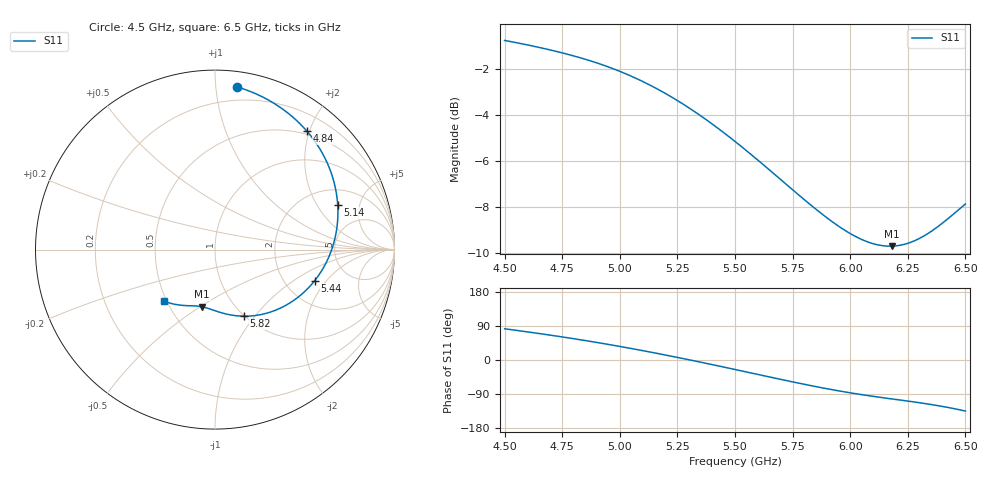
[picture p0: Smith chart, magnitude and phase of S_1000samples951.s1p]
! TOUCHSTONE file generated by CST MICROWAVE STUDIO
! Date and time: Sat Oct 29 21:51:21 2022
! Project name: L.cst
! Parameters = {Di=1.27; Epsilon_r=1.56; InnerDiameter=1.27; Length=2; Lf=10; Lg=60; OuterConductorThickness=0.2921; OuterDiameter=3.6; Wf=3; Wp=41.2; de=1.5; df=6.8; g=0.8; gx=1.4318; gy=3.06589; h=2.34; hf=1.524; px=10.5138; py=11.0138; w=9.7; wx=9.08197; wy=7.94793}
! Header version: 2018
! Port assignment regex: !\s*Touchstone port\s*([0-9]+)\s*=\s*(CST MWS port|CST DS port)\s*([0-9]+|Zmin|Zmax)\s*\(\"(.*)\"\)(\s*mode\s*([0-9]+))?.*
! Touchstone port assignment:
! Touchstone port 1 = CST MWS port 1 ("")
# GHz S DB R 50
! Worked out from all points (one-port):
!   101 points, 4.5 GHz to 6.5 GHz, reference 50 ohm
!   lowest |S11| = -9.7 dB at 6.18 GHz (marker M1), VSWR 1.97, Z = 35.7 - j25.5 ohm
!   |S11| at or under -10 dB: nowhere
!   S11 on the Smith chart (normalised r, x): 4.5 GHz: 0.10, +1.14; 4.84 GHz: 0.45, +1.96; 5.14 GHz: 2.90, +3.07; 5.44 GHz: 2.92, -1.52; 5.82 GHz: 0.99, -0.88; 6.5 GHz: 0.48, -0.33
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4.5  -0.77 82.4
4.56  -0.89 77.5
4.64  -1.06 70.7
4.7  -1.19 65.4
4.76  -1.34 59.9
4.84  -1.56 52.3
4.92  -1.82 44.2
5  -2.12 35.8
5.08  -2.47 26.9
5.14  -2.76 20.0
5.2  -3.09 12.9
5.26  -3.45 5.6
5.34  -3.97 -4.4
5.44  -4.70 -17.2
5.5  -5.16 -25.0
5.56  -5.65 -32.9
5.62  -6.15 -40.8
5.68  -6.67 -48.7
5.76  -7.35 -59.0
5.82  -7.86 -66.4
5.92  -8.64 -78.1
6  -9.17 -86.6
6.1  -9.61 -95.9
6.18  -9.72 -102.7
6.26  -9.56 -109.3
6.38  -8.87 -120.4
6.44  -8.39 -127.1
6.5  -7.88 -134.7
